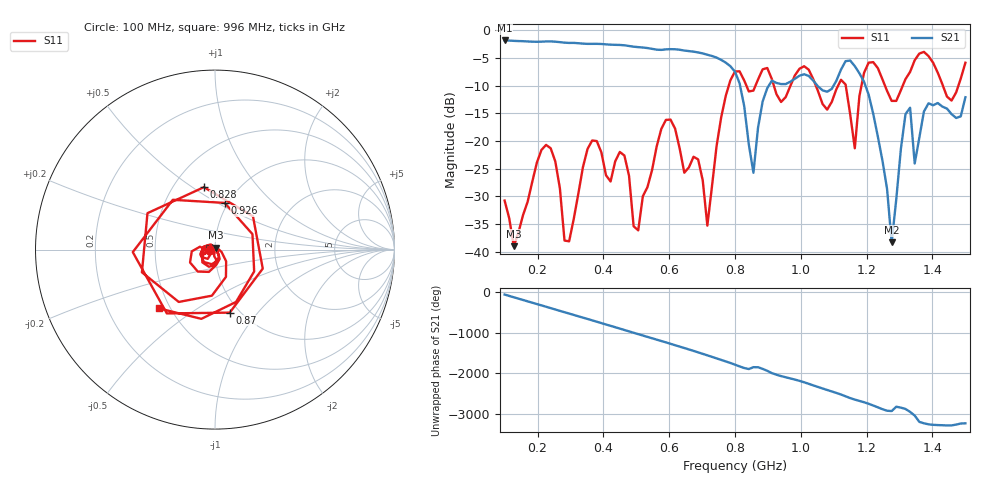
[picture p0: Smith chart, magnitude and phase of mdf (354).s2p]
! NanoVNA-App
! Date: 2025-09-25 15:41:10
! Start: 100MHz Stop: 1,5GHz Points: 101
! S-Parameter data: F S11 S21 S12 S22
# Hz S RI R 50
!  Frequency  S11_Real  S11_Imag  S21_Real  S21_Imag  S12_Real  S12_Imag  S22_Real  S22_Imag
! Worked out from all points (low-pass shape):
!   101 points, 100 MHz to 1.5 GHz, reference 50 ohm
!   highest |S21| = -1.80 dB at 100 MHz (marker M1); lowest = -38.3 dB at 1.276 GHz (marker M2)
!   |S21| within 3 dB of the highest: start of sweep to 739.2 MHz
!   lowest |S11| = -39.0 dB at 128 MHz (marker M3), VSWR 1.02, Z = 50.3 + j1.08 ohm
!   |S11| at or under -10 dB: start of sweep to 781 MHz; 918.2 MHz to 968.4 MHz (50.16 MHz wide, 5.32 % of centre); 1.046 GHz to 1.113 GHz (67.3 MHz wide, 6.24 % of centre) (the widest 3 of 7)
!   S12 and S22 are empty: the file has one direction only
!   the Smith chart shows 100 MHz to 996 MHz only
!   S11 on the Smith chart (normalised r, x): 100 MHz: 0.94, -0.01; 828 MHz: 0.70, +0.56; 870 MHz: 0.90, -0.73; 926 MHz: 0.97, +0.54; 996 MHz: 0.44, -0.36
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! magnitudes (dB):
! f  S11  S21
! 100 MHz  -30.7  -1.8
! 128 MHz  -39.0  -1.9
! 212 MHz  -21.6  -2.0
! 282 MHz  -38.0  -2.2
! 338 MHz  -24.7  -2.4
! 464 MHz  -22.6  -2.7
! 506 MHz  -36.1  -3.0
! 576 MHz  -17.8  -3.5
! 716 MHz  -35.3  -4.4
! 800 MHz  -7.4  -7.5
! 828 MHz  -9.0  -13.7
! 856 MHz  -10.9  -25.7
! 870 MHz  -8.9  -17.6
! 926 MHz  -11.5  -9.5
! 996 MHz  -6.9  -8.2
! 1.038 GHz  -8.8  -9.1
! 1.164 GHz  -21.3  -6.4
! 1.192 GHz  -7.7  -9.3
! 1.276 GHz  -12.7  -38.3
! 1.318 GHz  -8.8  -15.1
! 1.346 GHz  -5.4  -24.0
! 1.5 GHz  -5.8  -12.1
